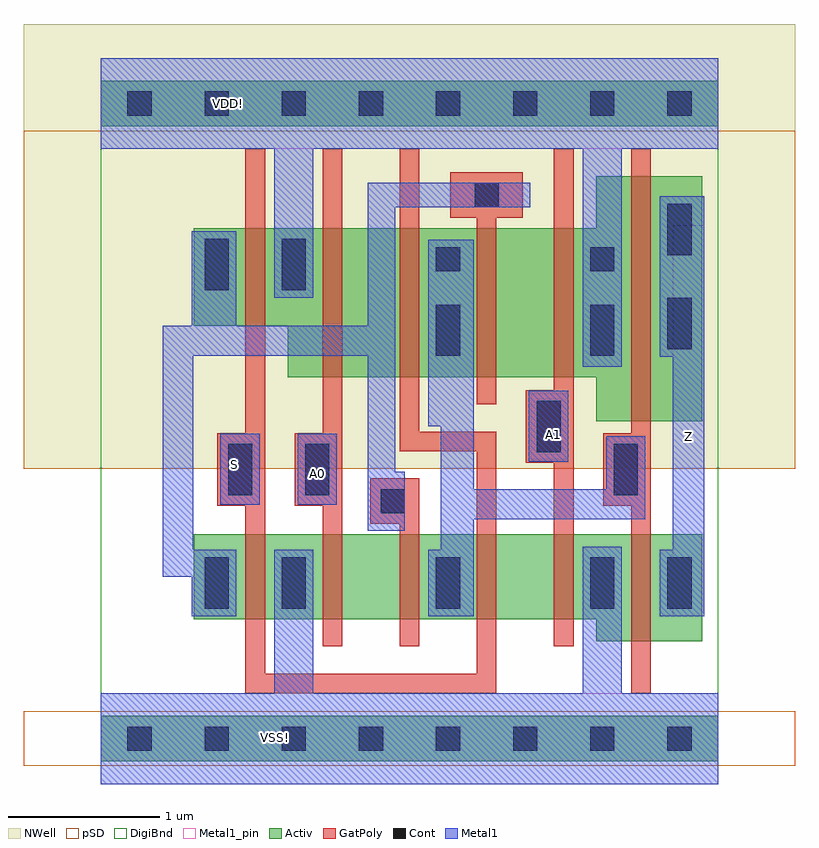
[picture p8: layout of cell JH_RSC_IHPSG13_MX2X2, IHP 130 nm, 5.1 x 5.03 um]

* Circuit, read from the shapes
.subckt JH_RSC_IHPSG13_MX2X2 A0 A1 S VDD! VSS! Z
XM1 VSS! S n1 VSS! sg13_lv_nmos w=0.56u l=0.13u
XM2 n2 A0 VSS! VSS! sg13_lv_nmos w=0.56u l=0.13u
XM3 n3 n1 n2 VSS! sg13_lv_nmos w=0.56u l=0.13u
XM4 n4 S n3 VSS! sg13_lv_nmos w=0.56u l=0.13u
XM5 VSS! A1 n4 VSS! sg13_lv_nmos w=0.56u l=0.13u
XM6 Z n3 VSS! VSS! sg13_lv_nmos w=0.705u l=0.13u
XM7 VDD! S n1 VDD! sg13_lv_pmos w=0.645u l=0.13u
XM8 n5 A0 VDD! VDD! sg13_lv_pmos w=0.985u l=0.13u
XM9 n3 S n5 VDD! sg13_lv_pmos w=0.985u l=0.13u
XM10 n6 n1 n3 VDD! sg13_lv_pmos w=0.985u l=0.13u
XM11 VDD! A1 n6 VDD! sg13_lv_pmos w=0.985u l=0.13u
XM12 Z n3 VDD! VDD! sg13_lv_pmos w=1.62u l=0.13u
.ends

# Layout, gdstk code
import gdstk
lib = gdstk.Library(unit=1e-6, precision=1e-09)
def R(c, l, rs):  # rectangles x0, y0, x1, y1
    for r in rs: c.add(gdstk.rectangle(r[:2], r[2:], *l))
def A(c, l, x, y, w, h, nx, ny, dx, dy):  # array of equal rectangles
    R(c, l, [(x+i*dx, y+j*dy, x+i*dx+w, y+j*dy+h) for i in range(nx) for j in range(ny)])
def P(c, l, *ps):  # polygons
    for p in ps: c.add(gdstk.Polygon(p, *l))
Activ = (1, 0)
GatPoly = (5, 0)
Cont = (6, 0)
Metal1 = (8, 0)
Metal1_pin = (8, 2)
pSD = (14, 0)
DigiBnd = (16, 0)
NWell = (31, 0)

jh_rsc_ihpsg13_mx2x2 = lib.new_cell('JH_RSC_IHPSG13_MX2X2')
R(jh_rsc_ihpsg13_mx2x2, Activ, [(0,-0.15,4.08,0.15), (0,4.05,4.08,4.35)])
P(jh_rsc_ihpsg13_mx2x2, Activ, [(3.275,2.1),(3.275,2.39),(1.235,2.39),(1.235,2.73),(0.615,2.73),(0.615,3.375),(3.275,3.375),(3.275,3.72),(3.975,3.72),(3.975,2.1)],
  [(3.275,0.645),(3.275,0.79),(0.615,0.79),(0.615,1.35),(3.975,1.35),(3.975,0.645)])
P(jh_rsc_ihpsg13_mx2x2, GatPoly, [(1.975,0.61),(1.975,1.42),(1.78,1.42),(1.78,1.72),(2.105,1.72),(2.105,0.61)],
  [(2.485,2.21),(2.485,3.445),(2.31,3.445),(2.31,3.745),(2.79,3.745),(2.79,3.445),(2.615,3.445),(2.615,2.21)],
  [(2.995,0.61),(2.995,1.825),(2.81,1.825),(2.81,2.305),(2.995,2.305),(2.995,3.9),(3.125,3.9),(3.125,0.61)],
  [(3.505,0.3),(3.505,1.54),(3.32,1.54),(3.32,2.02),(3.505,2.02),(3.505,3.9),(3.635,3.9),(3.635,0.3)],
  [(1.465,0.61),(1.465,1.54),(1.28,1.54),(1.28,2.02),(1.465,2.02),(1.465,3.9),(1.595,3.9),(1.595,0.61)],
  [(0.955,0.3),(0.955,1.54),(0.77,1.54),(0.77,2.02),(0.955,2.02),(0.955,3.9),(1.085,3.9),(1.085,0.43),(2.485,0.43),(2.485,1.9),(1.975,1.9),(1.975,3.9),(2.105,3.9),(2.105,2.03),(2.615,2.03),(2.615,0.3)])
A(jh_rsc_ihpsg13_mx2x2, Cont, 0.175, -0.08, 0.16, 0.16, 8, 2, 0.51, 4.2)
A(jh_rsc_ihpsg13_mx2x2, Cont, 1.195, 0.86, 0.16, 0.34, 3, 1, 1.02, 0)
R(jh_rsc_ihpsg13_mx2x2, Cont, [(0.685,0.86,0.845,1.2), (3.745,0.86,3.905,1.2), (1.85,1.49,2.01,1.65), (0.84,1.61,1,1.95), (1.35,1.61,1.51,1.95), (3.39,1.61,3.55,1.95), (2.88,1.895,3.04,2.235), (2.215,2.53,2.375,2.87), (3.235,2.53,3.395,2.87), (3.745,2.575,3.905,2.915), (0.685,2.965,0.845,3.305), (1.195,2.965,1.355,3.305), (2.215,3.09,2.375,3.25), (3.235,3.09,3.395,3.25), (3.745,3.195,3.905,3.535), (2.47,3.515,2.63,3.675)])
R(jh_rsc_ihpsg13_mx2x2, Metal1, [(0.79,1.545,1.05,2.015), (1.3,1.545,1.56,2.015), (2.83,1.83,3.09,2.3)])
P(jh_rsc_ihpsg13_mx2x2, Metal1, [(0.6,0.81),(0.6,1.07),(0.41,1.07),(0.41,2.73),(0.6,2.73),(0.6,3.355),(0.895,3.355),(0.895,2.73),(1.765,2.73),(1.765,3.675),(2.84,3.675),(2.84,3.515),(1.945,3.515),(1.945,1.765),(2.01,1.765),(2.01,1.375),(1.765,1.375),(1.765,2.53),(0.61,2.53),(0.61,1.25),(0.895,1.25),(0.895,0.81)],
  [(2.165,0.81),(2.165,1.25),(2.245,1.25),(2.245,2.065),(2.165,2.065),(2.165,3.3),(2.465,3.3),(2.465,1.65),(3.34,1.65),(3.34,2),(3.6,2),(3.6,1.45),(2.465,1.45),(2.465,0.81)],
  [(3.695,0.81),(3.695,1.25),(3.78,1.25),(3.78,2.525),(3.695,2.525),(3.695,3.585),(3.99,3.585),(3.99,0.81)],
  [(3.185,2.46),(3.185,3.9),(1.405,3.9),(1.405,2.915),(1.145,2.915),(1.145,3.9),(0,3.9),(0,4.5),(4.08,4.5),(4.08,3.9),(3.445,3.9),(3.445,2.46)],
  [(0,-0.3),(0,0.3),(1.145,0.3),(1.145,1.25),(1.405,1.25),(1.405,0.3),(3.185,0.3),(3.185,1.27),(3.445,1.27),(3.445,0.3),(4.08,0.3),(4.08,-0.3)])
R(jh_rsc_ihpsg13_mx2x2, Metal1_pin, [(0,-0.3,4.08,0.3), (3.78,0.81,3.99,3.395), (0.79,1.545,1.05,2.015), (1.3,1.545,1.56,2.015), (2.83,1.845,3.09,2.285), (0,3.9,4.08,4.5)])
R(jh_rsc_ihpsg13_mx2x2, pSD, [(-0.51,-0.18,4.59,0.18), (-0.51,1.785,4.59,4.02)])
R(jh_rsc_ihpsg13_mx2x2, DigiBnd, [(0,-0.3,4.08,4.5)])
R(jh_rsc_ihpsg13_mx2x2, NWell, [(-0.51,1.785,4.59,4.725)])
jh_rsc_ihpsg13_mx2x2.add(gdstk.Label('VDD!', (0.84,4.2), layer=8, texttype=2))
jh_rsc_ihpsg13_mx2x2.add(gdstk.Label('VSS!', (1.155,0.005), layer=8, texttype=2))
jh_rsc_ihpsg13_mx2x2.add(gdstk.Label('S', (0.885,1.815), layer=8, texttype=2))
jh_rsc_ihpsg13_mx2x2.add(gdstk.Label('A0', (1.435,1.755), layer=8, texttype=2))
jh_rsc_ihpsg13_mx2x2.add(gdstk.Label('A1', (2.99,2.01), layer=8, texttype=2))
jh_rsc_ihpsg13_mx2x2.add(gdstk.Label('Z', (3.885,1.995), layer=8, texttype=2))

lib.write_gds('JH_RSC_IHPSG13_MX2X2.gds')
